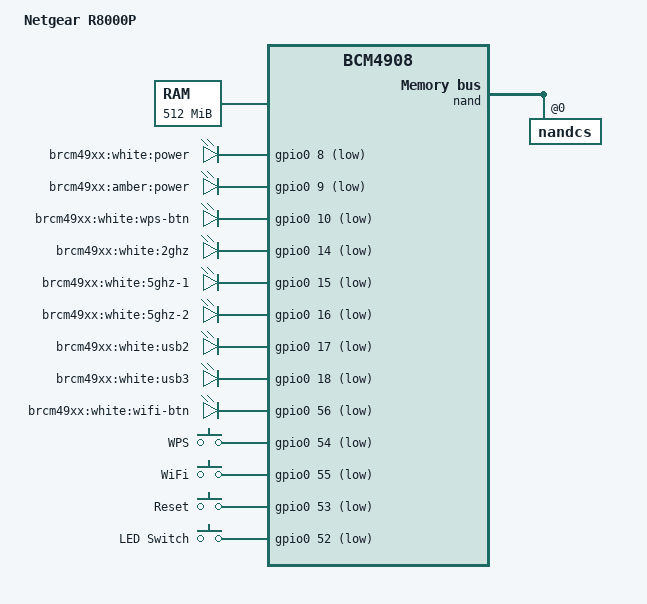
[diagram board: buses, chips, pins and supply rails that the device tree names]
#include "bcm4908.dtsi"

/ {
	model = "Netgear R8000P";
	compatible = "netgear,r8000p";

	aliases {
		serial0 = &uart0;
	};

	chosen {
		bootargs = "earlyprintk console=ttyS0,115200n8 loglevel=8";
		linux,stdout-path = "serial0:115200n8";
	};

	memory@0 {
		device_type = "memory";
		reg = <0x0 0x0 0x0 0x20000000>;
	};

	leds {
		compatible = "gpio-leds";
		#address-cells = <1>;
		#size-cells = <0>;

		power-white {
			label = "brcm49xx:white:power";
			gpios = <&gpio0 8 GPIO_ACTIVE_LOW>;
			default-state = "on";
		};

		power-amber {
			label = "brcm49xx:amber:power";
			gpios = <&gpio0 9 GPIO_ACTIVE_LOW>;
			default-state = "off";
		};

		wps {
			label = "brcm49xx:white:wps-btn";
			gpios = <&gpio0 10 GPIO_ACTIVE_LOW>;
			default-state = "off";
		};

		2ghz {
			label = "brcm49xx:white:2ghz";
			gpios = <&gpio0 14 GPIO_ACTIVE_LOW>;
			default-state = "off";
		};

		5ghz-1 {
			label = "brcm49xx:white:5ghz-1";
			gpios = <&gpio0 15 GPIO_ACTIVE_LOW>;
			default-state = "off";
		};

		5ghz-2 {
			label = "brcm49xx:white:5ghz-2";
			gpios = <&gpio0 16 GPIO_ACTIVE_LOW>;
			default-state = "off";
		};

		usb2 {
			label = "brcm49xx:white:usb2";
			gpios = <&gpio0 17 GPIO_ACTIVE_LOW>;
			default-state = "off";
		};

		usb3 {
			label = "brcm49xx:white:usb3";
			gpios = <&gpio0 18 GPIO_ACTIVE_LOW>;
			default-state = "off";
		};

		wireless {
			label = "brcm49xx:white:wifi-btn";
			gpios = <&gpio0 56 GPIO_ACTIVE_LOW>;
			default-state = "off";
		};
	};

	gpio-keys-polled {
		compatible = "gpio-keys-polled";
		poll-interval = <100>;
		#address-cells = <1>;
		#size-cells = <0>;

		wps {
			label = "WPS";
			linux,code = <KEY_WPS_BUTTON>;
			gpios = <&gpio0 54 GPIO_ACTIVE_LOW>;
		};

		rfkill {
			label = "WiFi";
			linux,code = <KEY_RFKILL>;
			gpios = <&gpio0 55 GPIO_ACTIVE_LOW>;
		};

		restart {
			label = "Reset";
			linux,code = <KEY_RESTART>;
			gpios = <&gpio0 53 GPIO_ACTIVE_LOW>;
		};

		led-switch {
			label = "LED Switch";
			linux,code = <KEY_LIGHTS_TOGGLE>;
			linux,input_type = <EV_SW>;
			gpios = <&gpio0 52 GPIO_ACTIVE_LOW>;
		};
	};
};

&nand {
	nandcs@0 {
		nand-ecc-strength = <4>;
		nand-ecc-step-size = <1024>;

		nvram@0 {
			reg = <0x0 0x100000>;
		};

		bootfs@100000 {
			reg = <0x100000 0x4a0000>;
			read-only;
		};

		firmware@5a0000 {
			reg = <0x5a0000 0x3f60000>;
		};

		/* misc1 ~ misc7 */
		netgear@4500000 {
			reg = <0x4500000 0x1200000>;
			read-only;
		};

		data@5700000 {
			reg = <0x5700000 0x2800000>;
		};
	};
};
